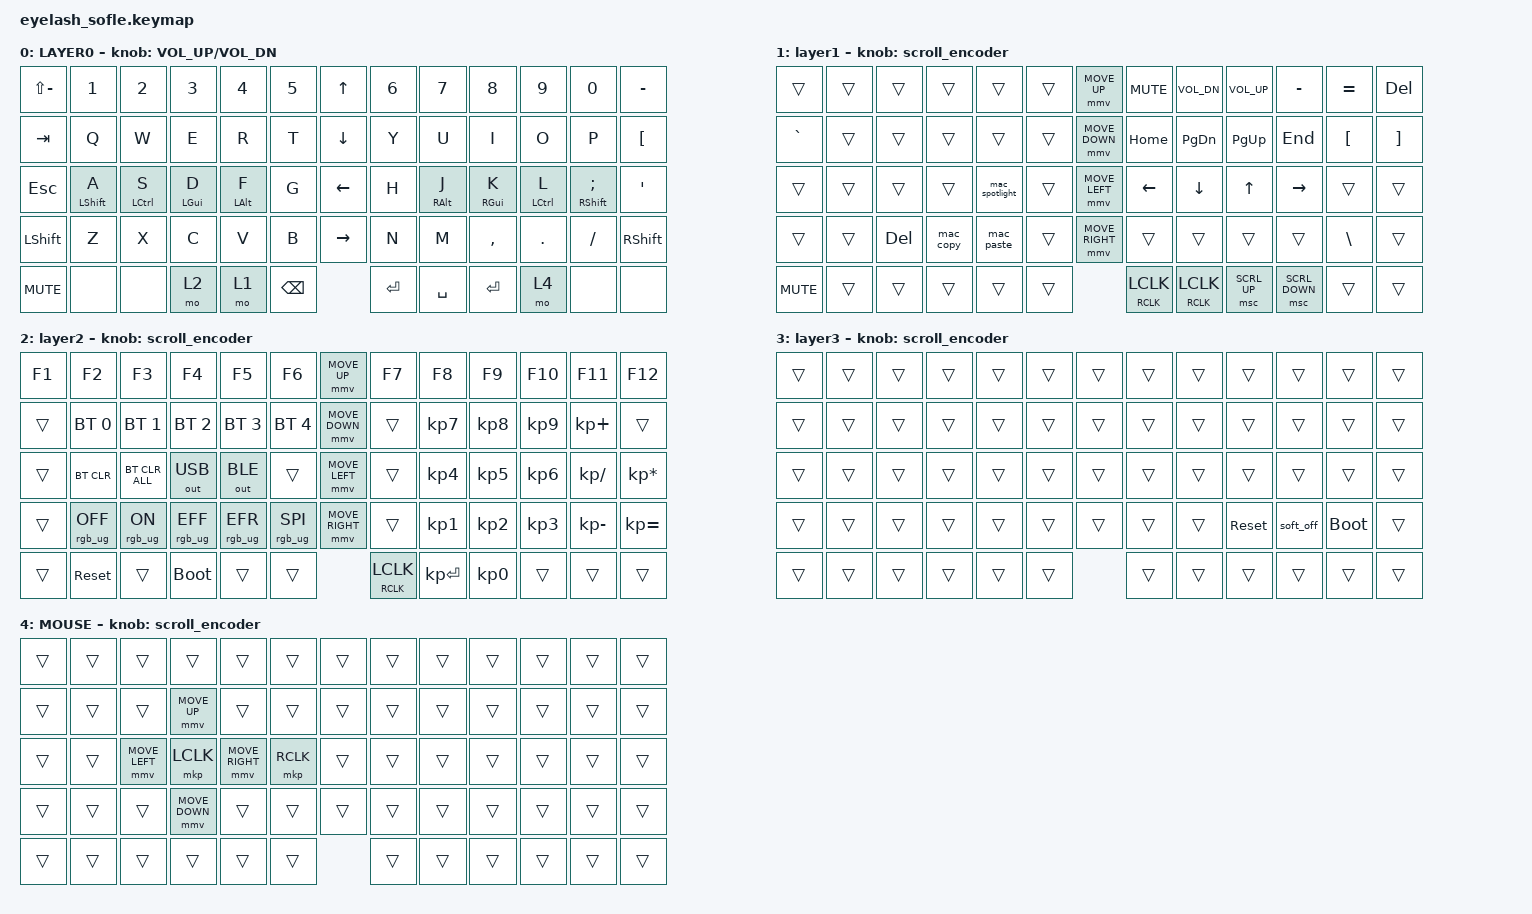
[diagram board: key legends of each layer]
#define ZMK_POINTING_DEFAULT_MOVE_VAL 1200  // 600
#define ZMK_POINTING_DEFAULT_SCRL_VAL 25   // 10

#include <input/processors.dtsi>
#include <zephyr/dt-bindings/input/input-event-codes.h>
#include <behaviors.dtsi>
#include <dt-bindings/zmk/bt.h>
#include <dt-bindings/zmk/keys.h>
#include <dt-bindings/zmk/outputs.h>
#include <dt-bindings/zmk/pointing.h>
#include <dt-bindings/zmk/rgb.h>

&mmv_input_listener { input-processors = <&zip_xy_scaler 2 1>; };

&msc_input_listener { input-processors = <&zip_scroll_scaler 2 1>; };

&msc {
    acceleration-exponent = <1>;      // 0
    time-to-max-speed-ms = <0>;       // 300
    delay-ms = <0>;                   // 0
};

&mmv {
    time-to-max-speed-ms = <500>;
    acceleration-exponent = <1>;
    trigger-period-ms = <16>;
};

&soft_off { hold-time-ms = <2000>; };

&mt {
    tapping-term-ms = <140>;
    quick-tap-ms = <175>;
    require-prior-idle-ms = <150>;
    flavor = "balanced";
};

&lt {
    tapping-term-ms = <140>;
    quick-tap-ms = <175>;
};

/ {
    scroll_encoder: scroll_encoder {
        compatible = "zmk,behavior-sensor-rotate";
        #sensor-binding-cells = <0>;
        bindings = <&msc SCRL_DOWN>, <&msc SCRL_UP>;

        tap-ms = <30>;
    };

    macros {
        // Shift+Middle Click (existing)
        SHIFT_MCLK: SHIFT_MCLK {
            compatible = "zmk,behavior-macro";
            #binding-cells = <0>;
            bindings =
                <&macro_press>,
                <&kp LEFT_SHIFT>,
                <&macro_press>,
                <&mkp MB3>,
                <&macro_pause_for_release>,
                <&macro_release>,
                <&kp LEFT_SHIFT &mkp MB3>;
            label = "SHIFT_MCLK";
        };

        // M0: Cmd+Shift+Space (Spotlight/Alfred)
        mac_spotlight: mac_spotlight {
            compatible = "zmk,behavior-macro";
            #binding-cells = <0>;
            bindings = <&kp LG(LS(SPACE))>;
            label = "MAC_SPOTLIGHT";
        };

        // M1: Cmd+C (Copy)
        mac_copy: mac_copy {
            compatible = "zmk,behavior-macro";
            #binding-cells = <0>;
            bindings = <&kp LG(C)>;
            label = "MAC_COPY";
        };

        // M2: Cmd+V (Paste)
        mac_paste: mac_paste {
            compatible = "zmk,behavior-macro";
            #binding-cells = <0>;
            bindings = <&kp LG(V)>;
            label = "MAC_PASTE";
        };
    };

    behaviors {
        // Tap dance: tap for left click, double-tap for right click
        td_click: tap_dance_click {
            compatible = "zmk,behavior-tap-dance";
            #binding-cells = <0>;
            tapping-term-ms = <200>;
            bindings = <&mkp LCLK>, <&mkp RCLK>;
        };

        // Hold-tap: Tap = LCLK, Hold = RCLK
        ht_click: ht_click {
            compatible = "zmk,behavior-hold-tap";
            #binding-cells = <2>;
            flavor = "hold-preferred";
            tapping-term-ms = <200>;
            quick-tap-ms = <175>;
            bindings = <&mkp>, <&mkp>;
        };


    };

    combos {
        compatible = "zmk,combos";

        softoff {
            bindings = <&soft_off>;
            key-positions = <26 40 46>;
        };



        // Both shifts = Caps Lock
        caps_combo {
            bindings = <&kp CAPS>;
            key-positions = <39 51>;
            timeout-ms = <50>;
        };

        // Combo to toggle Layer 1 (Left Thumb Inner + Left Thumb Outer/BSPC)
        combo_tog1 {
             bindings = <&tog 1>;
             key-positions = <56 57>;
        };

        // Combo to toggle Layer 2 (Left Thumb Inner + Right Thumb Inner/Space)
        combo_tog2 {
            bindings = <&tog 2>;
            key-positions = <55 59>;
        };
    };

    conditional_layers {
        compatible = "zmk,conditional-layers";
        tri_layer {
            if-layers = <1 2>;
            then-layer = <3>;
        };
    };

    keymap {
        compatible = "zmk,keymap";

        layer0 {
            // Silakka54-style layout with home row mods
            // Left home row: A=Shift, S=Ctrl, D=GUI, F=Alt
            // Right home row: J=Alt, K=GUI, L=Ctrl, ;=Shift
            bindings = <
&kp LS(MINUS)  &kp N1         &kp N2         &kp N3        &kp N4        &kp N5           &kp UP_ARROW     &kp N6     &kp N7        &kp N8        &kp N9         &kp N0          &kp MINUS
&kp TAB        &kp Q          &kp W          &kp E         &kp R         &kp T            &kp DOWN_ARROW   &kp Y      &kp U         &kp I         &kp O          &kp P           &kp LBKT
&kp ESC        &mt LSHFT A    &mt LCTRL S    &mt LGUI D    &mt LALT F    &kp G            &kp LEFT_ARROW   &kp H      &mt RALT J    &mt RGUI K    &mt LCTRL L    &mt RSHFT SEMI  &kp SQT
&kp LSHFT      &kp Z          &kp X          &kp C         &kp V         &kp B            &kp RIGHT_ARROW  &kp N      &kp M         &kp COMMA     &kp DOT        &kp FSLH        &kp RSHFT
&kp C_MUTE     &none          &none         &mo 2         &mo 1            &kp BSPC         &kp ENTER        &kp SPACE        &kp ENTER  &mo 4         &none         &none
            >;

            sensor-bindings = <&inc_dec_kp C_VOLUME_UP C_VOL_DN>;
            display-name = "LAYER0";
        };

        layer_1 {
            // Layer 1 from Silakka54
            // Macros on left hand, navigation on right, media keys
            bindings = <
&trans         &trans         &trans         &trans        &trans           &trans           &mmv MOVE_UP     &kp C_MUTE    &kp C_VOL_DN  &kp C_VOL_UP  &kp MINUS     &kp EQUAL       &kp DEL
&kp GRAVE      &trans         &trans         &trans        &trans           &trans           &mmv MOVE_DOWN   &kp HOME      &kp PG_DN     &kp PG_UP     &kp END       &kp LBKT        &kp RBKT
&trans         &trans         &trans         &trans        &mac_spotlight   &trans           &mmv MOVE_LEFT   &kp LEFT      &kp DOWN      &kp UP        &kp RIGHT     &trans          &trans
&trans         &trans         &kp DEL        &mac_copy     &mac_paste       &trans           &mmv MOVE_RIGHT  &trans        &trans        &trans        &trans        &kp BSLH        &trans
&kp C_MUTE     &trans         &trans         &trans        &trans           &trans           &ht_click RCLK LCLK  &ht_click RCLK LCLK     &msc SCRL_UP  &msc SCRL_DOWN  &trans        &trans
            >;

            display-name = "layer1";
            sensor-bindings = <&scroll_encoder>;
        };

        layer_2 {
            // F keys on top, BT/RGB controls on left, Numpad on right
            bindings = <
&kp F1     &kp F2           &kp F3          &kp F4           &kp F5           &kp F6             &mmv MOVE_UP     &kp F7        &kp F8           &kp F9           &kp F10        &kp F11         &kp F12
&trans     &bt BT_SEL 0     &bt BT_SEL 1    &bt BT_SEL 2     &bt BT_SEL 3     &bt BT_SEL 4       &mmv MOVE_DOWN   &trans        &kp KP_N7        &kp KP_N8        &kp KP_N9      &kp KP_PLUS     &trans
&trans     &bt BT_CLR       &bt BT_CLR_ALL  &out OUT_USB     &out OUT_BLE     &trans             &mmv MOVE_LEFT   &trans        &kp KP_N4        &kp KP_N5        &kp KP_N6      &kp KP_SLASH    &kp KP_ASTERISK
&trans     &rgb_ug RGB_OFF  &rgb_ug RGB_ON  &rgb_ug RGB_EFF  &rgb_ug RGB_EFR  &rgb_ug RGB_SPI    &mmv MOVE_RIGHT  &trans        &kp KP_N1        &kp KP_N2        &kp KP_N3      &kp KP_MINUS    &kp KP_EQUAL
&trans     &sys_reset       &trans          &bootloader      &trans           &trans             &ht_click RCLK LCLK  &kp KP_ENTER  &kp KP_N0        &trans           &trans         &trans
            >;

            display-name = "layer2";
            sensor-bindings = <&scroll_encoder>;
        };

        layer_3 {
            bindings = <
&trans  &trans  &trans  &trans  &trans  &trans    &trans  &trans  &trans  &trans      &trans     &trans       &trans
&trans  &trans  &trans  &trans  &trans  &trans    &trans  &trans  &trans  &trans      &trans     &trans       &trans
&trans  &trans  &trans  &trans  &trans  &trans    &trans  &trans  &trans  &trans      &trans     &trans       &trans
&trans  &trans  &trans  &trans  &trans  &trans    &trans  &trans  &trans  &sys_reset  &soft_off  &bootloader  &trans
&trans  &trans  &trans  &trans  &trans  &trans    &trans  &trans  &trans  &trans      &trans     &trans
            >;

            display-name = "layer3";
            sensor-bindings = <&scroll_encoder>;
        };

        layer_4 {
            // Mouse layer from Silakka54: E/S/F/C = cursor, D = left click, G = right click
            bindings = <
&trans  &trans  &trans  &trans          &trans          &trans       &trans  &trans  &trans  &trans  &trans  &trans  &trans
&trans  &trans  &trans  &mmv MOVE_UP    &trans          &trans       &trans  &trans  &trans  &trans  &trans  &trans  &trans
&trans  &trans  &mmv MOVE_LEFT  &mkp LCLK  &mmv MOVE_RIGHT  &mkp RCLK    &trans  &trans  &trans  &trans  &trans  &trans  &trans
&trans  &trans  &trans  &mmv MOVE_DOWN  &trans          &trans       &trans  &trans  &trans  &trans  &trans  &trans  &trans
&trans  &trans  &trans  &trans          &trans          &trans       &trans  &trans  &trans  &trans  &trans  &trans
            >;

            display-name = "MOUSE";
            sensor-bindings = <&scroll_encoder>;
        };
    };
};
